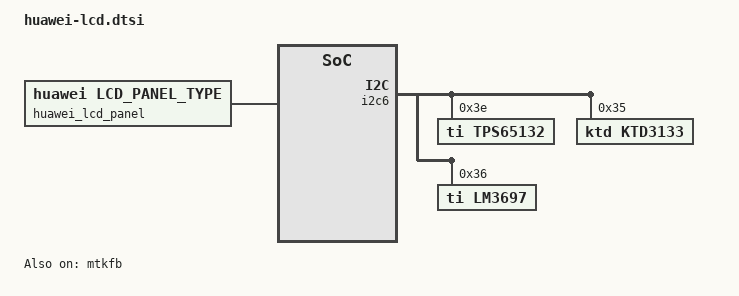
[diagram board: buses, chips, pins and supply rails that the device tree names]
#include "../lcdkit3.0/ksa/devkit_lcd_kit.dtsi"

&huawei_lcd_panel {
		compatible = "huawei,lcd_panel_type";
		product_id = <1002>;
		detect_type = <2>; /*0:DETECT_GPIOID  1:DETECT_CHIPID  2:DETECT_LCD_TYPE */
		gpio_id = <169 178>; /*ID0 ID1*/
		support_lcd_type = "LCD_KIT";
		iovcc_ctrl_mode = <1>;
};

/* DISPSYS GPIO standardization */
&pio {
	mtkfb_pins_lcm_reset0: lcm_rst_out0_gpio {
		pins_cmd_dat {
			pinmux = <PINMUX_GPIO45__FUNC_GPIO45>;
			slew-rate = <1>;
			output-low;
		};
	};

	mtkfb_pins_lcm_reset1: lcm_rst_out1_gpio {
		pins_cmd_dat {
			pinmux = <PINMUX_GPIO45__FUNC_GPIO45>;
			slew-rate = <1>;
			output-high;
		};
	};
};

&mtkfb {
	pinctrl-names = "lcm_rst_out0_gpio", "lcm_rst_out1_gpio";
	pinctrl-0 = <&mtkfb_pins_lcm_reset0>;
	pinctrl-1 = <&mtkfb_pins_lcm_reset1>;
	status = "okay";
};

&i2c6{
    tps65132@3e {
        compatible = "ti,tps65132";
        reg = <0x3e>;
        tps65132_i2c_bus_id = <6>;
        tps65132_support = <1>;
    };

    ktd3133@35 {
        compatible = "ktd,ktd3133";
        reg = <0x35>;
        ktd3133_i2c_bus_id = <6>;
        ktd3133_support = <1>;
        ktd3133_hw_enable = <1>;
        ktd3133_hw_en_gpio = <154>;
        bl_on_lk_mdelay = <1>;
        ktd3133_reg_mode = <0x99>;
        ktd3133_reg_control = <0x60>;
        ktd3133_reg_lsb = <0x00>;
        ktd3133_reg_msb = <0x00>;
        ktd3133_reg_pwm = <0x1B>;
        ktd3133_reg_ramp_on = <0x44>;
        ktd3133_reg_transit_ramp = <0x13>;
    };

    lm3697@36 {
        compatible = "ti,lm3697";
        reg = <0x36>;
        lm3697_i2c_bus_id = <6>;
        lm3697_support = <1>;
        lm3697_hw_enable = <1>;
        lm3697_hw_en_gpio = <154>;
        bl_on_lk_mdelay = <1>;
        lm3697_backlight_config_lsb_reg_addr = <0x22>;
        lm3697_backlight_config_msb_reg_addr = <0x23>;
        lm3697_reg_sink_output_config = <0x03>;
        lm3697_reg_ramp_on_off_l = <0x00>;
        lm3697_reg_ramp_on_off_r = <0x00>;
        lm3697_reg_ramp_time = <0x11>;
        lm3697_reg_ramp_time_config = <0x00>;
        lm3697_reg_brightness_config = <0x00>;
        lm3697_reg_full_scale_current_setting_a = <0x13>;
        lm3697_reg_full_scale_current_setting_b = <0x13>;
        lm3697_reg_current_sink_feedback_enable = <0x03>;
        lm3697_reg_boost_control = <0x04>;
        lm3697_reg_auto_frequency_threshold = <0xcf>;
        lm3697_reg_pwm_config = <0x0c>;
        lm3697_reg_brightness_lsb_a = <0x00>;
        lm3697_reg_brightness_msb_a = <0x00>;
        lm3697_reg_brightness_lsb_b = <0x00>;
        lm3697_reg_brightness_msb_b = <0x00>;
        lm3697_reg_bank_enable = <0x02>;
        lm3697_reg_open_faults = <0x00>;
        lm3697_reg_short_faults = <0x00>;
        lm3697_reg_fault_enable = <0x00>;
    };

};
